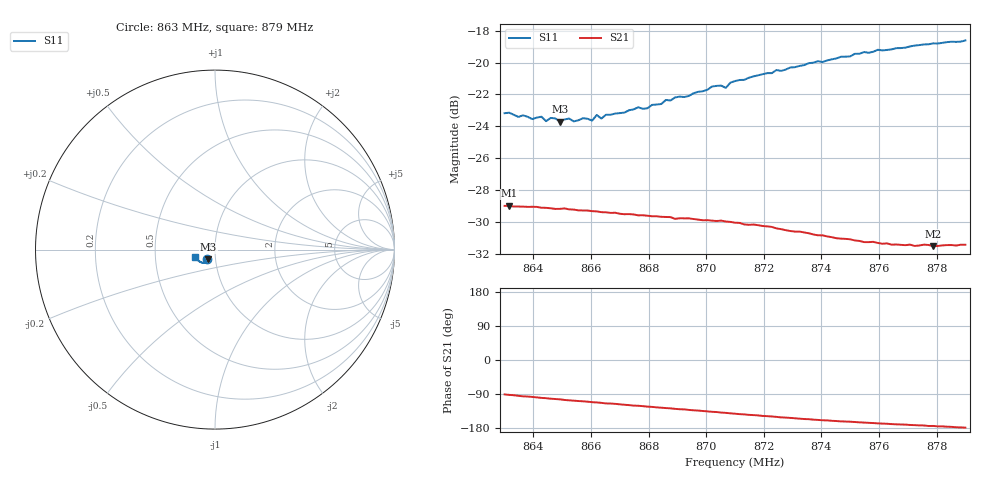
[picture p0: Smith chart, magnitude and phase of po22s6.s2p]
# HZ S RI R 50
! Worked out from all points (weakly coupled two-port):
!   101 points, 863 MHz to 879 MHz, reference 50 ohm
!   highest |S21| = -28.98 dB at 863.16 MHz (marker M1); lowest = -31.5 dB at 877.88 MHz (marker M2)
!   lowest |S11| = -23.7 dB at 864.92 MHz (marker M3), VSWR 1.14, Z = 46.2 - j5.02 ohm
!   |S11| at or under -10 dB: start of sweep to end of sweep
!   S12 and S22 are empty: the file has one direction only
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8.63e8  -0.0447 -0.053  -0.000511 -0.0355  0 0  0 0
8.6316e8  -0.0448 -0.0533  -0.00128 -0.0355  0 0  0 0
8.6348e8  -0.0417 -0.0531  -0.00278 -0.0353  0 0  0 0
8.6428e8  -0.0389 -0.0553  -0.00609 -0.0345  0 0  0 0
8.6444e8  -0.0385 -0.053  -0.00656 -0.0344  0 0  0 0
8.646e8  -0.0379 -0.0553  -0.00734 -0.0341  0 0  0 0
8.6492e8  -0.0366 -0.0541  -0.00831 -0.0338  0 0  0 0
8.6572e8  -0.0351 -0.0569  -0.0112 -0.0325  0 0  0 0
8.6604e8  -0.0345 -0.056  -0.0124 -0.0319  0 0  0 0
8.662e8  -0.0358 -0.0584  -0.0128 -0.0317  0 0  0 0
8.6636e8  -0.0343 -0.0573  -0.0133 -0.0312  0 0  0 0
8.6652e8  -0.0343 -0.0594  -0.0141 -0.0308  0 0  0 0
8.6844e8  -0.0372 -0.0641  -0.0193 -0.0266  0 0  0 0
8.686e8  -0.0368 -0.0669  -0.0197 -0.0262  0 0  0 0
8.694e8  -0.038 -0.0688  -0.0217 -0.0242  0 0  0 0
8.702e8  -0.0434 -0.072  -0.0232 -0.0219  0 0  0 0
8.7068e8  -0.0431 -0.0713  -0.0241 -0.0206  0 0  0 0
8.71e8  -0.049 -0.0725  -0.0247 -0.0195  0 0  0 0
8.7372e8  -0.0668 -0.0742  -0.0267 -0.0111  0 0  0 0
8.7644e8  -0.0905 -0.0625  -0.0264 -0.00506  0 0  0 0
8.7788e8  -0.1029 -0.0508  -0.0264 -0.00276  0 0  0 0
8.79e8  -0.1101 -0.0403  -0.0268 -0.000696  0 0  0 0
